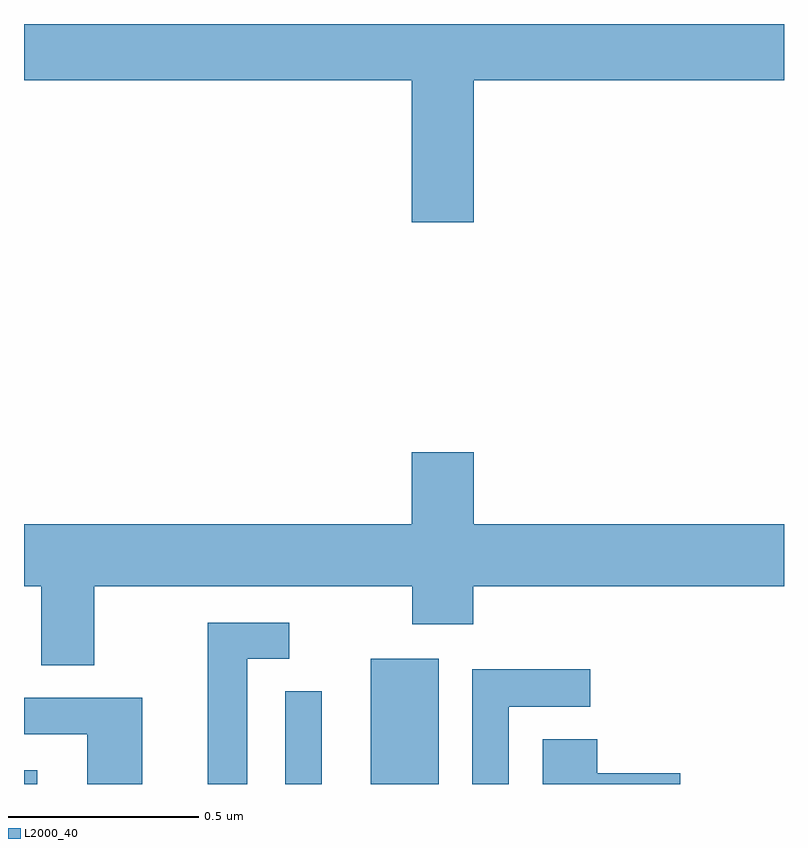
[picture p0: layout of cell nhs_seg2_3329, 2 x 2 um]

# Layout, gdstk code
import gdstk
lib = gdstk.Library(unit=1e-6, precision=1e-09)
def R(c, l, rs):  # rectangles x0, y0, x1, y1
    for r in rs: c.add(gdstk.rectangle(r[:2], r[2:], *l))
def P(c, l, *ps):  # polygons
    for p in ps: c.add(gdstk.Polygon(p, *l))
L2000_40 = (2000, 40)

nhs_seg2_3329 = lib.new_cell('nhs_seg2_3329')
R(nhs_seg2_3329, L2000_40, [(152,629.8,152.035,629.836), (152.912,629.8,153.091,630.13)])
P(nhs_seg2_3329, L2000_40, [(153.184,631.652),(154,631.652),(154,631.8),(152,631.8),(152,631.652),(153.02,631.652),(153.02,631.278),(153.184,631.278)],
  [(152.185,630.32),(153.022,630.32),(153.022,630.221),(153.182,630.221),(153.182,630.32),(154,630.32),(154,630.484),(153.184,630.484),(153.184,630.673),(153.02,630.673),(153.02,630.484),(152,630.484),(152,630.32),(152.045,630.32),(152.045,630.112),(152.185,630.112)],
  [(152.587,630.129),(152.698,630.129),(152.698,630.225),(152.483,630.225),(152.483,629.8),(152.587,629.8)],
  [(153.276,630.003),(153.49,630.003),(153.49,630.102),(153.18,630.102),(153.18,629.8),(153.276,629.8)],
  [(152.783,629.89),(152.784,629.89),(152.784,630.044),(152.688,630.044),(152.688,629.8),(152.783,629.8)],
  [(152.311,630.027),(152,630.027),(152,629.931),(152.166,629.931),(152.166,629.8),(152.311,629.8)],
  [(153.727,629.828),(153.509,629.828),(153.509,629.918),(153.365,629.918),(153.365,629.8),(153.727,629.8)])

lib.write_gds('nhs_seg2_3329.gds')
